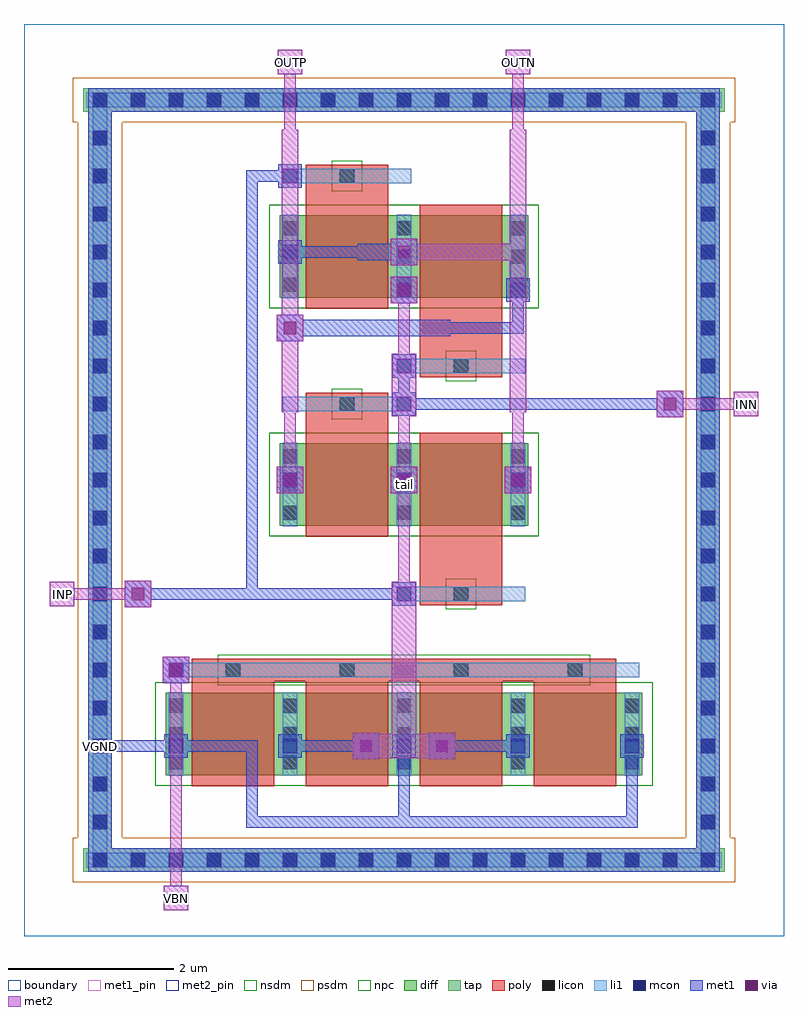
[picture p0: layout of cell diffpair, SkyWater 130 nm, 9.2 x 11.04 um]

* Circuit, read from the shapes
.subckt diffpair INN INP OUTN OUTP VBN VGND tail
XM1 tail VBN VGND VGND sky130_fd_pr__nfet_01v8 w=1 l=1 m=4
XM2 tail INN OUTP VGND sky130_fd_pr__nfet_01v8 w=1 l=1 m=2
XM3 tail INP OUTN VGND sky130_fd_pr__nfet_01v8 w=1 l=1 m=2
.ends

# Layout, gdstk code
import gdstk
lib = gdstk.Library(unit=1e-6, precision=1e-09)
def R(c, l, rs):  # rectangles x0, y0, x1, y1
    for r in rs: c.add(gdstk.rectangle(r[:2], r[2:], *l))
def A(c, l, x, y, w, h, nx, ny, dx, dy):  # array of equal rectangles
    R(c, l, [(x+i*dx, y+j*dy, x+i*dx+w, y+j*dy+h) for i in range(nx) for j in range(ny)])
diff = (65, 20)
tap = (65, 44)
poly = (66, 20)
licon = (66, 44)
li1 = (67, 20)
mcon = (67, 44)
met1_pin = (68, 16)
met1 = (68, 20)
via = (68, 44)
met2_pin = (69, 16)
met2 = (69, 20)
nsdm = (93, 44)
psdm = (94, 20)
npc = (95, 20)
boundary = (235, 4)

diffpair = lib.new_cell('diffpair')
R(diffpair, diff, [(1.715,1.945,7.485,2.945), (3.095,4.965,6.105,5.965), (3.095,7.725,6.105,8.725)])
R(diffpair, tap, [(0.715,0.775,8.485,1.065), (0.775,0.775,1.065,10.265), (8.135,0.775,8.425,10.265), (0.715,9.975,8.485,10.265)])
A(diffpair, poly, 2.03, 1.815, 1, 1.405, 4, 1, 1.38, 0)
R(diffpair, poly, [(2.03,3.085,7.17,3.355), (4.79,4.005,5.79,4.275), (4.79,4.14,5.79,6.095), (3.41,4.835,4.41,6.44), (3.41,6.305,4.41,6.575), (4.79,6.765,5.79,7.035), (4.79,6.9,5.79,8.855), (3.41,7.595,4.41,9.2), (3.41,9.065,4.41,9.335)])
A(diffpair, licon, 0.835, 0.835, 0.17, 0.17, 17, 2, 0.46, 9.2)
A(diffpair, licon, 0.835, 1.295, 0.17, 0.17, 1, 19, 0, 0.46)
A(diffpair, licon, 8.195, 1.295, 0.17, 0.17, 1, 19, 0, 0.46)
A(diffpair, licon, 1.755, 2.02, 0.17, 0.17, 5, 3, 1.38, 0.34)
A(diffpair, licon, 2.445, 3.135, 0.17, 0.17, 4, 1, 1.38, 0)
A(diffpair, licon, 3.135, 5.04, 0.17, 0.17, 3, 3, 1.38, 0.34)
A(diffpair, licon, 3.135, 7.8, 0.17, 0.17, 3, 3, 1.38, 0.34)
R(diffpair, licon, [(5.205,4.055,5.375,4.225), (3.825,6.355,3.995,6.525), (5.205,6.815,5.375,6.985), (3.825,9.115,3.995,9.285)])
A(diffpair, li1, 1.755, 1.94, 0.17, 1.01, 5, 1, 1.38, 0)
A(diffpair, li1, 3.135, 4.96, 0.17, 1.01, 3, 2, 1.38, 2.76)
R(diffpair, li1, [(0.755,0.835,8.445,1.005), (0.835,0.835,1.005,10.205), (8.195,0.835,8.365,10.205), (1.755,3.135,7.445,3.305), (4.515,4.055,6.065,4.225), (3.135,6.355,4.685,6.525), (4.515,6.815,6.065,6.985), (3.135,9.115,4.685,9.285), (0.755,10.035,8.445,10.205)])
A(diffpair, mcon, 0.835, 0.835, 0.17, 0.17, 17, 2, 0.46, 9.2)
A(diffpair, mcon, 0.835, 1.295, 0.17, 0.17, 1, 6, 0, 0.46)
A(diffpair, mcon, 8.195, 1.295, 0.17, 0.17, 1, 6, 0, 0.46)
A(diffpair, mcon, 1.755, 2.215, 0.17, 0.17, 5, 1, 1.38, 0)
A(diffpair, mcon, 0.835, 4.055, 0.17, 0.17, 3, 2, 3.68, 2.3)
A(diffpair, mcon, 0.835, 4.515, 0.17, 0.17, 1, 4, 0, 0.46)
A(diffpair, mcon, 8.195, 4.515, 0.17, 0.17, 1, 4, 0, 0.46)
A(diffpair, mcon, 3.135, 5.435, 0.17, 0.17, 3, 1, 1.38, 0)
A(diffpair, mcon, 0.835, 6.815, 0.17, 0.17, 3, 1, 3.68, 0)
A(diffpair, mcon, 0.835, 7.275, 0.17, 0.17, 1, 6, 0, 0.46)
A(diffpair, mcon, 8.195, 7.275, 0.17, 0.17, 1, 6, 0, 0.46)
R(diffpair, mcon, [(1.755,3.135,1.925,3.305), (4.515,7.735,4.685,7.905), (5.895,7.735,6.065,7.905), (3.135,8.195,3.305,8.365), (3.135,9.115,3.305,9.285)])
R(diffpair, met1_pin, [(0.85,2.23,0.99,2.37)])
A(diffpair, met1, 1.695, 2.155, 0.29, 0.29, 5, 1, 1.38, 0)
A(diffpair, met1, 3.06, 5.36, 0.32, 0.32, 3, 1, 1.38, 0)
A(diffpair, met1, 3.075, 5.375, 0.29, 0.29, 3, 1, 1.38, 0)
R(diffpair, met1, [(0.775,0.775,8.425,1.065), (0.775,0.775,1.065,10.265), (8.135,0.775,8.425,10.265), (2.69,1.31,2.83,2.37), (2.69,1.31,4.67,1.45), (4.53,1.31,4.67,2.37), (4.53,1.31,7.43,1.45), (7.29,1.31,7.43,2.37), (3.98,2.14,4.3,2.46), (4.9,2.14,5.22,2.46), (0.85,2.23,1.91,2.37), (0.85,2.23,0.99,2.37), (0.85,2.23,0.99,10.19), (1.77,2.23,2.83,2.37), (3.15,2.23,4.21,2.37), (4.99,2.23,6.05,2.37), (1.68,3.06,2,3.38), (1.695,3.075,1.985,3.365), (1.22,3.98,1.54,4.3), (4.455,3.995,4.745,4.285), (1.31,4.07,4.67,4.21), (2.69,4.07,2.83,9.27), (7.66,6.28,7.98,6.6), (4.455,6.295,4.745,6.585), (4.53,6.37,4.67,6.97), (4.53,6.37,7.89,6.51), (4.455,6.755,4.745,7.045), (3.06,7.2,3.38,7.52), (3.12,7.26,5.16,7.46), (4.99,7.29,6.05,7.43), (5.91,7.29,6.05,7.89), (4.44,7.66,4.76,7.98), (4.455,7.675,4.745,7.965), (5.835,7.675,6.125,7.965), (4.44,8.12,4.76,8.44), (3.075,8.135,3.365,8.425), (4.04,8.18,4.7,8.38), (3.15,8.21,4.21,8.35), (3.075,9.055,3.365,9.345), (2.69,9.13,3.29,9.27), (0.775,9.975,8.425,10.265), (0.85,10.05,0.99,10.19)])
A(diffpair, via, 3.145, 5.445, 0.15, 0.15, 3, 1, 1.38, 0)
R(diffpair, via, [(4.065,2.225,4.215,2.375), (4.985,2.225,5.135,2.375), (1.765,3.145,1.915,3.295), (1.305,4.065,1.455,4.215), (7.745,6.365,7.895,6.515), (3.145,7.285,3.295,7.435), (4.525,7.745,4.675,7.895), (4.525,8.205,4.675,8.355)])
R(diffpair, met2_pin, [(1.69,0.31,1.99,0.61), (0.31,3.99,0.61,4.29), (8.59,6.29,8.89,6.59), (3.07,10.43,3.37,10.73), (5.83,10.43,6.13,10.73)])
A(diffpair, met2, 3.06, 5.36, 0.32, 0.32, 3, 1, 1.38, 0)
A(diffpair, met2, 3.15, 5.45, 0.14, 1.06, 3, 1, 1.38, 0)
R(diffpair, met2, [(1.69,0.31,1.99,0.61), (1.77,0.39,1.91,0.53), (1.77,0.39,1.91,3.29), (3.98,2.14,4.3,2.46), (4.9,2.14,5.22,2.46), (3.99,2.15,4.75,2.45), (4.45,2.15,4.75,4.29), (4.45,2.15,5.21,2.45), (1.68,3.06,2,3.38), (1.22,3.98,1.54,4.3), (0.31,3.99,0.61,4.29), (0.39,4.07,0.53,4.21), (0.39,4.07,1.45,4.21), (4.53,4.07,4.67,5.59), (7.66,6.28,7.98,6.6), (4.45,6.29,4.75,7.05), (8.59,6.29,8.89,6.59), (3.12,6.34,3.32,9.76), (5.88,6.34,6.08,9.76), (7.75,6.37,8.81,6.51), (8.67,6.37,8.81,6.51), (4.53,6.83,4.67,7.89), (3.06,7.2,3.38,7.52), (4.44,7.66,4.76,7.98), (4.44,8.12,4.76,8.44), (4.5,8.18,6.08,8.38), (3.15,9.59,3.29,10.65), (5.91,9.59,6.05,10.65), (3.07,10.43,3.37,10.73), (5.83,10.43,6.13,10.73), (3.15,10.51,3.29,10.65), (5.91,10.51,6.05,10.65)])
R(diffpair, nsdm, [(1.59,1.82,7.61,3.07), (2.97,4.84,6.23,6.09), (2.97,7.6,6.23,8.85)])
R(diffpair, psdm, [(0.59,0.65,8.61,1.19), (0.65,1.19,1.19,9.85), (8.01,1.19,8.55,9.85), (0.59,9.85,8.61,10.39)])
R(diffpair, npc, [(2.345,3.035,6.855,3.405), (5.105,3.955,5.475,4.325), (3.725,6.255,4.095,6.625), (5.105,6.715,5.475,7.085), (3.725,9.015,4.095,9.385)])
R(diffpair, boundary, [(0,0,9.2,11.04)])
diffpair.add(gdstk.Label('tail', (4.6,5.465), layer=67, texttype=5))
diffpair.add(gdstk.Label('VGND', (0.92,2.3), layer=68, texttype=5))
diffpair.add(gdstk.Label('INP', (0.46,4.14), layer=69, texttype=5))
diffpair.add(gdstk.Label('INN', (8.74,6.44), layer=69, texttype=5))
diffpair.add(gdstk.Label('VBN', (1.84,0.46), layer=69, texttype=5))
diffpair.add(gdstk.Label('OUTP', (3.22,10.58), layer=69, texttype=5))
diffpair.add(gdstk.Label('OUTN', (5.98,10.58), layer=69, texttype=5))
diffpair.add(gdstk.Label('VGND', (0.92,2.3), layer=68, texttype=16))
diffpair.add(gdstk.Label('INP', (0.46,4.14), layer=69, texttype=16))
diffpair.add(gdstk.Label('INN', (8.74,6.44), layer=69, texttype=16))
diffpair.add(gdstk.Label('VBN', (1.84,0.46), layer=69, texttype=16))
diffpair.add(gdstk.Label('OUTP', (3.22,10.58), layer=69, texttype=16))
diffpair.add(gdstk.Label('OUTN', (5.98,10.58), layer=69, texttype=16))

lib.write_gds('diffpair.gds')
